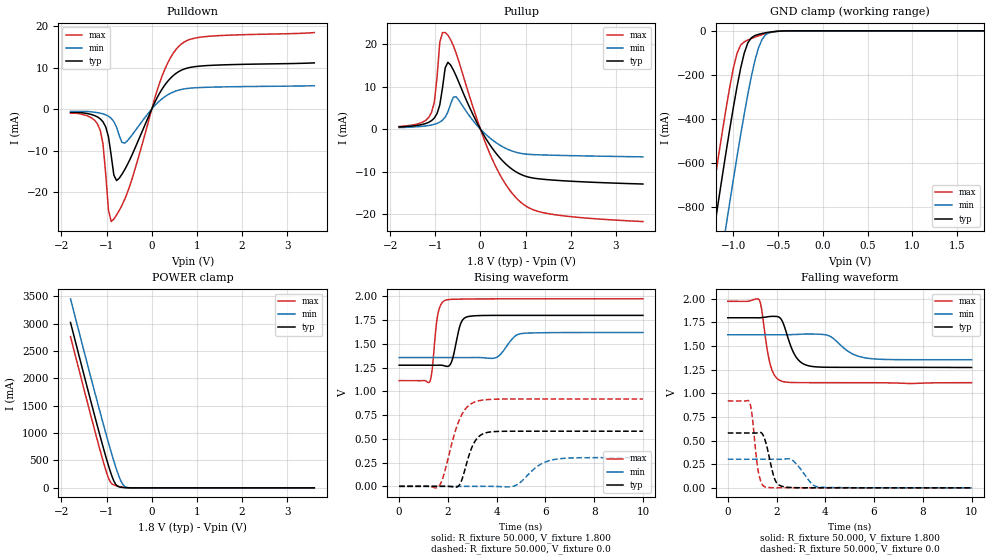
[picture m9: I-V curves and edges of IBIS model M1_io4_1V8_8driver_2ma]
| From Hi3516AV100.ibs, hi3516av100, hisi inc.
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|   Model M1_io4_1V8_8driver_2ma
[Model] M1_io4_1V8_8driver_2ma
Model_type I/O
Enable   Active-Low
C_comp   2.700pF   2.663pF   2.744pF
C_comp_pullup   1.414pF   1.361pF   1.442pF
C_comp_pulldown   1.144pF   1.136pF   1.193pF
[Temperature Range]   25.000   0.125k   -40.000
[Voltage Range]   1.800V   1.620V   1.970V
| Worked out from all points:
|   slope of the pulldown table from 0 to 0.27 V, typ, clamps not added: 49.3 ohm
|   slope of the pullup table from 0 to 0.27 V, typ, clamps not added: 58.7 ohm
|   GND clamp passes 1 mA (typ) near -0.46 V on its own axis
|   POWER clamp passes 1 mA (typ) near -0.52 V on its own axis
|   rising waveform, R_fixture 50.000, V_fixture 1.800: 20-80 % time 270ps typ, 469ps min, 203ps max; typ from 1.27 V to 1.8 V
|   rising waveform, R_fixture 50.000, V_fixture 0.0: 20-80 % time 456ps typ, 822ps min, 631ps max; typ from 0 V to 0.581 V
|   falling waveform, R_fixture 50.000, V_fixture 1.800: 20-80 % time 477ps typ, 802ps min, 327ps max; typ from 1.8 V to 1.27 V
|   falling waveform, R_fixture 50.000, V_fixture 0.0: 20-80 % time 318ps typ, 533ps min, 232ps max; typ from 0.581 V to 0 V
[Pulldown]
|Voltage   I(typ)   I(min)   I(max)
-1.8V     -835uA     -584.3uA   -999.6uA
-1.32V    -1.382mA   -701.4uA   -2.24mA
-1.14V    -2.383mA   -1.008mA   -5.2mA
-1.08V    -3.097mA   -1.175mA   -8.488mA
-960mV    -6.663mA   -1.729mA   -24.28mA
-900mV    -11.1mA    -2.224mA   -27.13mA
-840mV    -15.93mA   -3.027mA   -26.56mA
-720mV    -16.67mA   -6.405mA   -24.45mA
-600mV    -14.62mA   -8.226mA   -21.77mA
180mV     3.95mA     2.031mA    6.52mA
600mV     9.049mA    4.574mA    15.14mA
3.6V      11.12mA    5.613mA    18.43mA
[Pullup]
|Voltage   I(typ)   I(min)   I(max)
-1.8V     501.9uA    359.2uA    622uA
-1.32V    1.018mA    625uA      1.457mA
-1.08V    2.011mA    978.4uA    3.977mA
-1.02V    2.615mA    1.135mA    6.412mA
-900mV    5.669mA    1.647mA    20.38mA
-780mV    14.41mA    2.816mA    22.7mA
-720mV    15.71mA    4.021mA    22.1mA
-540mV    12.56mA    7.619mA    17.94mA
180mV     -3.216mA   -1.814mA   -5.051mA
840mV     -10.36mA   -5.585mA   -16.68mA
1.5V      -11.9mA    -6.111mA   -19.87mA
3.6V      -12.91mA   -6.525mA   -21.74mA
[GND_clamp]
|Voltage   I(typ)   I(min)   I(max)
-1.8V     -2.536A    -2.859A    -2.342A
-1.28V    -1.078A    -1.418A    -874.3mA
-1.2V     -860.6mA   -1.2A      -657.1mA
-1.08V    -544.2mA   -880.2mA   -347mA
-1V       -345.8mA   -673mA     -168.1mA
-960mV    -254mA     -572.3mA   -102.3mA
-880mV    -102.3mA   -379.7mA   -50.17mA
-800mV    -31.66mA   -207.5mA   -35.12mA
-720mV    -16.02mA   -77.6mA    -22.87mA
-680mV    -12.07mA   -38.75mA   -17.53mA
-600mV    -6.176mA   -8.568mA   -8.833mA
1.8V      0A         0A         0A
[POWER_clamp]
|Voltage   I(typ)   I(min)   I(max)
-1.8V     3.023A     3.455A     2.765A
-1.2V     1.116A     1.553A     853.2mA
-1.04V    634.5mA    1.064A     382.2mA
-960mV    408.5mA    827mA      182.2mA
-920mV    303.2mA    711.2mA    110.1mA
-880mV    206.7mA    598mA      70.15mA
-800mV    65.13mA    382.9mA    41mA
-760mV    31.99mA    284mA      30.98mA
-680mV    10.64mA    118.3mA    16.27mA
-600mV    3.914mA    26.47mA    6.952mA
-400mV    59.27uA    154.9uA    71.6uA
3.6V      -21.96uA   -120nA     -42.48uA
[Ramp]
| variable   typ   min   max
dV/dt_r   0.348/0.456n   0.182/0.825n   0.552/0.632n
dV/dt_f   0.316/0.476n   0.158/0.798n   0.520/0.328n
R_load = 50.000
[Rising Waveform]
R_fixture= 50.000
V_fixture= 1.800
V_fixture_min= 1.620
V_fixture_max= 1.980
|time   V(typ)   V(min)   V(max)
0s        1.275V     1.356V     1.113V
1.259ns   1.275V     1.356V     1.104V
1.584ns   1.276V     1.356V     1.807V
1.929ns   1.264V     1.356V     1.962V
2.179ns   1.333V     1.356V     1.969V
2.529ns   1.716V     1.356V     1.971V
2.82ns    1.787V     1.356V     1.973V
3.971ns   1.8V       1.355V     1.974V
5.011ns   1.8V       1.608V     1.974V
10ns      1.8V       1.62V      1.974V
[Rising Waveform]
R_fixture= 50.000
V_fixture= 0.0
V_fixture_min= 0.0
V_fixture_max= 0.0
|time   V(typ)   V(min)   V(max)
0s        463uV      0V         655.9uV
1.629ns   429.6uV    0V         326.1uV
1.811ns   790.5uV    -550.5nV   103.6mV
2.469ns   13.96mV    10.49uV    700mV
3.108ns   473.3mV    -27.44uV   888.8mV
3.549ns   563.2mV    235.9uV    912mV
4.721ns   580.4mV    4.167mV    919.7mV
5.71ns    580.6mV    217.8mV    920mV
6.321ns   580.6mV    280.8mV    920mV
10ns      580.6mV    302.7mV    920mV
[Falling Waveform]
R_fixture= 50.000
V_fixture= 1.800
V_fixture_min= 1.620
V_fixture_max= 1.980
|time   V(typ)   V(min)   V(max)
0s        1.8V       1.62V      1.974V
1.284ns   1.8V       1.62V      1.991V
1.383ns   1.802V     1.62V      1.899V
1.752ns   1.814V     1.62V      1.297V
2.214ns   1.775V     1.62V      1.129V
2.769ns   1.398V     1.623V     1.114V
3.266ns   1.295V     1.628V     1.113V
4.121ns   1.276V     1.612V     1.113V
5.651ns   1.275V     1.375V     1.113V
10ns      1.274V     1.356V     1.113V
[Falling Waveform]
R_fixture= 50.000
V_fixture= 0.0
V_fixture_min= 0.0
V_fixture_max= 0.0
|time   V(typ)   V(min)   V(max)
0s        580.6mV    302.7mV    920mV
891ps     580.6mV    302.7mV    907.2mV
995ps     580.4mV    302.7mV    773.4mV
1.247ns   582.7mV    302.7mV    180.4mV
1.52ns    512.4mV    302.7mV    10.88mV
1.926ns   92.8mV     302.5mV    1.279mV
2.285ns   12.33mV    303.9mV    723.1uV
2.692ns   2.624mV    284.1mV    662.2uV
3.721ns   502.1uV    8.771mV    656.7uV
10ns      465.6uV    0V         663.1uV
